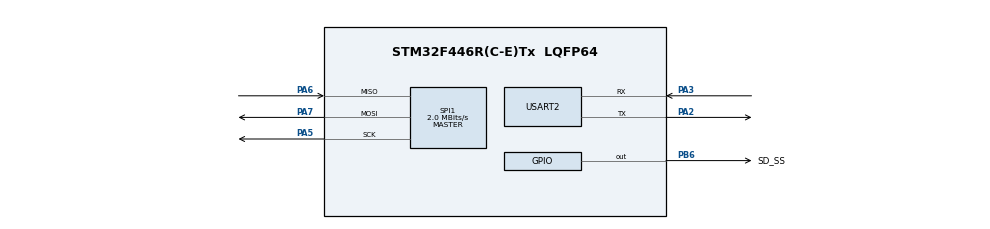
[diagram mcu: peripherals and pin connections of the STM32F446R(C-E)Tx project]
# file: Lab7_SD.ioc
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FATFS._MAX_SS=4096
FATFS._USE_LFN=1
Mcu.Family=STM32F4
Mcu.Name=STM32F446R(C-E)Tx
Mcu.Package=LQFP64
NVIC.PriorityGroup=NVIC_PRIORITYGROUP_4
NVIC.USART2_IRQn=true\:0\:0\:false\:false\:true\:true\:true\:true
PA2.Mode=Asynchronous
PA2.Signal=USART2_TX
PA3.Mode=Asynchronous
PA3.Signal=USART2_RX
PA5.Mode=Full_Duplex_Master
PA5.Signal=SPI1_SCK
PA6.Mode=Full_Duplex_Master
PA6.Signal=SPI1_MISO
PA7.Mode=Full_Duplex_Master
PA7.Signal=SPI1_MOSI
PB6.GPIO_Label=SD_SS
PB6.GPIO_ModeDefaultOutputPP=GPIO_MODE_OUTPUT_PP
PB6.GPIO_Speed=GPIO_SPEED_FREQ_MEDIUM
PB6.PinState=GPIO_PIN_SET
PB6.Signal=GPIO_Output
PH0-OSC_IN.Mode=HSE-External-Clock-Source
PH0-OSC_IN.Signal=RCC_OSC_IN
PH1-OSC_OUT.Mode=HSE-External-Clock-Source
PH1-OSC_OUT.Signal=RCC_OSC_OUT
ProjectManager.HeapSize=0x200
ProjectManager.StackSize=0x400
ProjectManager.TargetToolchain=STM32CubeIDE
RCC.CortexFreq_Value=16000000
RCC.USBFreq_Value=96000000
RCC.VCOOutputFreq_Value=192000000
SPI1.BaudRatePrescaler=SPI_BAUDRATEPRESCALER_8
SPI1.CalculateBaudRate=2.0 MBits/s
SPI1.Direction=SPI_DIRECTION_2LINES
SPI1.Mode=SPI_MODE_MASTER
SPI1.VirtualType=VM_MASTER
USART2.VirtualMode=VM_ASYNC
VP_FATFS_VS_Generic.Mode=User_defined
board=custom

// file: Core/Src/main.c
/* USER CODE BEGIN Header */
/**
  ******************************************************************************
  * @file           : main.c
  * @brief          : Main program body
  ******************************************************************************
  * @attention
  *
  * Copyright (c) 2024 STMicroelectronics.
  * All rights reserved.
  *
  * This software is licensed under terms that can be found in the LICENSE file
  * in the root directory of this software component.
  * If no LICENSE file comes with this software, it is provided AS-IS.
  *
  ******************************************************************************
  */
/* USER CODE END Header */
#include "main.h"
#include "fatfs.h"

/* USER CODE BEGIN Includes */
#include "fatfs_sd.h"
#include "string.h"
#include "stdio.h"
/* USER CODE END Includes */

/* USER CODE BEGIN PD */
#define BUF_LEN 2048
/* USER CODE END PD */

SPI_HandleTypeDef hspi1;

UART_HandleTypeDef huart2;

/* USER CODE BEGIN PV */

FATFS fs;
FATFS *pfs;
FIL fil;
FRESULT fres;
DWORD fre_clust;
uint32_t totalSpace, freeSpace;
char buffer[100];

uint8_t data[10]; //Buffer que recive comandos
uint8_t start;
uint8_t leer;
/* USER CODE END PV */

void SystemClock_Config(void);
static void MX_GPIO_Init(void);
static void MX_SPI1_Init(void);
static void MX_USART2_UART_Init(void);
/* USER CODE BEGIN PFP */
void transmit_uart(char *string);
/* USER CODE END PFP */

int main(void)
{

  /* MCU Configuration--------------------------------------------------------*/

  /* Reset of all peripherals, Initializes the Flash interface and the Systick. */
  HAL_Init();

  /* USER CODE BEGIN Init */
  void transmit_uart(char *string){
	  uint8_t len = strlen(string);
	  HAL_UART_Transmit(&huart2, (uint8_t*) string, len, 200);
  }
  /* USER CODE END Init */

  /* Configure the system clock */
  SystemClock_Config();

  /* Initialize all configured peripherals */
  MX_GPIO_Init();
  MX_SPI1_Init();
  MX_FATFS_Init();
  MX_USART2_UART_Init();
  /* USER CODE BEGIN 2 */
  HAL_Delay(500);

  HAL_UART_Receive_IT(&huart2, data, 1);
  //Montar SD
  /*void start (void){
	  fres = f_mount(&fs, "/", 0);
	    if(fres == FR_OK){
	  	  transmit_uart("Micro SD card is mounted succesfully!\n");
	  	  start = 1;
	    }else if(fres != FR_OK){
	  	  transmit_uart("Micro SD card's mount error!\n");
	  	  start = 0;
	    		//agregar bandera de inicio si no se inicializo
	    }
  }

  start();*/
  fres = f_mount(&fs, "/", 0);
  	    if(fres == FR_OK){
  	  	  transmit_uart("Micro SD card is mounted succesfully!\n");
  	  	  start = 1;
  	    }else if(fres != FR_OK){
  	  	  transmit_uart("Micro SD card's mount error!\n");
  	  	  start = 0;
  	    		//agregar bandera de inicio si no se inicializo
  	    }

  /* USER CODE END 2 */

  /* Infinite loop */
  /* USER CODE BEGIN WHILE */
  while (1)
  {
	  if(start == 1){
		  transmit_uart("Elija una opcion\n");
		  transmit_uart("Imagen a\n");
		  transmit_uart("Imagen b\n");
		  transmit_uart("Imagen c\n");
		  start = 0;
	  }

	  if(data[0] == 'a'){
		  fres = f_open(&fil, "mario.txt", FA_READ); //FA_OPEN_APPEND |  | FA_WRITE
		  if(fres == FR_OK){
			  transmit_uart("File opened for reading.\n");
		  	  leer = 1;
		  }else if(fres != FR_OK){
		  	  transmit_uart("File was not opened for reading!\n");
		  	  leer = 0;
		  }
		  if (leer == 1){
		  	  while(f_gets(buffer, sizeof(buffer), &fil)){
		  		  char mRd[100];
		  		  sprintf(mRd, "%s", buffer);
		  		  transmit_uart(mRd);
		  	  }

		  	  leer = 0;
		  }
		  fres = f_close(&fil);
		  if(fres == FR_OK){
			  transmit_uart("The file is closed\n");
		  }else if(fres != FR_OK){
		  	  transmit_uart("The file was not closed\n");
		  }
		  f_mount(NULL,"",1);
		  if(fres == FR_OK){
			  transmit_uart("The micro SD card is unmounted!\n");
		  }else if(fres!= FR_OK){
		  	  transmit_uart("The micro SD was not unmountad!\n");
		  }
		  data[0] = 'd';
	  }else if(data[0] == 'b'){
		  fres = f_open(&fil, "dragon.txt", FA_READ); //FA_OPEN_APPEND |  | FA_WRITE
		  if(fres == FR_OK){
			  transmit_uart("File opened for reading.\n");
			  leer = 1;
		  }else if(fres != FR_OK){
			  transmit_uart("File was not opened for reading!\n");
			  leer = 0;
		  }
		  if (leer == 1){
			  while(f_gets(buffer, sizeof(buffer), &fil)){
				  char mRd[100];
		  		  sprintf(mRd, "%s", buffer);
		  		  transmit_uart(mRd);
			  }

			  leer = 0;
		  }
		  fres = f_close(&fil);
		  if(fres == FR_OK){
			  transmit_uart("The file is closed\n");
		  }else if(fres != FR_OK){
			  transmit_uart("The file was not closed\n");
		  }
		  f_mount(NULL,"",1);
		  if(fres == FR_OK){
			  transmit_uart("The micro SD card is unmounted!\n");
		  }else if(fres!= FR_OK){
			  transmit_uart("The micro SD was not unmountad!\n");
		  }
		  data[0] = 'd';

	  }else if(data[0] == 'c'){
		  fres = f_open(&fil, "pikred.txt", FA_READ); //FA_OPEN_APPEND |  | FA_WRITE
		  if(fres == FR_OK){
			  transmit_uart("File opened for reading.\n");
			  leer = 1;
		  }else if(fres != FR_OK){
			  transmit_uart("File was not opened for reading!\n");
			  leer = 0;
		  }
		  if (leer == 1){
			  while(f_gets(buffer, sizeof(buffer), &fil)){
				  char mRd[100];
		  		  sprintf(mRd, "%s", buffer);
		  		  transmit_uart(mRd);
			  }

			  leer = 0;
		  }
		  fres = f_close(&fil);
		  if(fres == FR_OK){
			  transmit_uart("The file is closed\n");
		  }else if(fres != FR_OK){
			  transmit_uart("The file was not closed\n");
		  }
		  f_mount(NULL,"",1);
		  if(fres == FR_OK){
			  transmit_uart("The micro SD card is unmounted!\n");
		  }else if(fres!= FR_OK){
			  transmit_uart("The micro SD was not unmountad!\n");
		  }
		  data[0] = 'd';

	  }
    /* USER CODE END WHILE */

  }
}

void SystemClock_Config(void)
{
  RCC_OscInitTypeDef RCC_OscInitStruct = {0};
  RCC_ClkInitTypeDef RCC_ClkInitStruct = {0};

  /** Configure the main internal regulator output voltage
  */
  __HAL_RCC_PWR_CLK_ENABLE();
  __HAL_PWR_VOLTAGESCALING_CONFIG(PWR_REGULATOR_VOLTAGE_SCALE3);

  /** Initializes the RCC Oscillators according to the specified parameters
  * in the RCC_OscInitTypeDef structure.
  */
  RCC_OscInitStruct.OscillatorType = RCC_OSCILLATORTYPE_HSI;
  RCC_OscInitStruct.HSIState = RCC_HSI_ON;
  RCC_OscInitStruct.HSICalibrationValue = RCC_HSICALIBRATION_DEFAULT;
  RCC_OscInitStruct.PLL.PLLState = RCC_PLL_NONE;
  if (HAL_RCC_OscConfig(&RCC_OscInitStruct) != HAL_OK)
  {
    Error_Handler();
  }

  /** Initializes the CPU, AHB and APB buses clocks
  */
  RCC_ClkInitStruct.ClockType = RCC_CLOCKTYPE_HCLK|RCC_CLOCKTYPE_SYSCLK
                              |RCC_CLOCKTYPE_PCLK1|RCC_CLOCKTYPE_PCLK2;
  RCC_ClkInitStruct.SYSCLKSource = RCC_SYSCLKSOURCE_HSI;
  RCC_ClkInitStruct.AHBCLKDivider = RCC_SYSCLK_DIV1;
  RCC_ClkInitStruct.APB1CLKDivider = RCC_HCLK_DIV1;
  RCC_ClkInitStruct.APB2CLKDivider = RCC_HCLK_DIV1;

  if (HAL_RCC_ClockConfig(&RCC_ClkInitStruct, FLASH_LATENCY_0) != HAL_OK)
  {
    Error_Handler();
  }
}

static void MX_SPI1_Init(void)
{

  /* SPI1 parameter configuration*/
  hspi1.Instance = SPI1;
  hspi1.Init.Mode = SPI_MODE_MASTER;
  hspi1.Init.Direction = SPI_DIRECTION_2LINES;
  hspi1.Init.DataSize = SPI_DATASIZE_8BIT;
  hspi1.Init.CLKPolarity = SPI_POLARITY_LOW;
  hspi1.Init.CLKPhase = SPI_PHASE_1EDGE;
  hspi1.Init.NSS = SPI_NSS_SOFT;
  hspi1.Init.BaudRatePrescaler = SPI_BAUDRATEPRESCALER_8;
  hspi1.Init.FirstBit = SPI_FIRSTBIT_MSB;
  hspi1.Init.TIMode = SPI_TIMODE_DISABLE;
  hspi1.Init.CRCCalculation = SPI_CRCCALCULATION_DISABLE;
  hspi1.Init.CRCPolynomial = 10;
  if (HAL_SPI_Init(&hspi1) != HAL_OK)
  {
    Error_Handler();
  }

}

static void MX_USART2_UART_Init(void)
{

  huart2.Instance = USART2;
  huart2.Init.BaudRate = 115200;
  huart2.Init.WordLength = UART_WORDLENGTH_8B;
  huart2.Init.StopBits = UART_STOPBITS_1;
  huart2.Init.Parity = UART_PARITY_NONE;
  huart2.Init.Mode = UART_MODE_TX_RX;
  huart2.Init.HwFlowCtl = UART_HWCONTROL_NONE;
  huart2.Init.OverSampling = UART_OVERSAMPLING_16;
  if (HAL_UART_Init(&huart2) != HAL_OK)
  {
    Error_Handler();
  }

}

static void MX_GPIO_Init(void)
{
  GPIO_InitTypeDef GPIO_InitStruct = {0};

  /* GPIO Ports Clock Enable */
  __HAL_RCC_GPIOH_CLK_ENABLE();
  __HAL_RCC_GPIOA_CLK_ENABLE();
  __HAL_RCC_GPIOB_CLK_ENABLE();

  /*Configure GPIO pin Output Level */
  HAL_GPIO_WritePin(SD_SS_GPIO_Port, SD_SS_Pin, GPIO_PIN_SET);

  /*Configure GPIO pin : SD_SS_Pin */
  GPIO_InitStruct.Pin = SD_SS_Pin;
  GPIO_InitStruct.Mode = GPIO_MODE_OUTPUT_PP;
  GPIO_InitStruct.Pull = GPIO_NOPULL;
  GPIO_InitStruct.Speed = GPIO_SPEED_FREQ_MEDIUM;
  HAL_GPIO_Init(SD_SS_GPIO_Port, &GPIO_InitStruct);

}

/* USER CODE BEGIN 4 */
void HAL_UART_RxCpltCallback(UART_HandleTypeDef *huart)
{
	HAL_UART_Receive_IT(&huart2, data, 1);
}
/* USER CODE END 4 */

void Error_Handler(void)
{
  __disable_irq();
  while (1)
  {
  }
}
